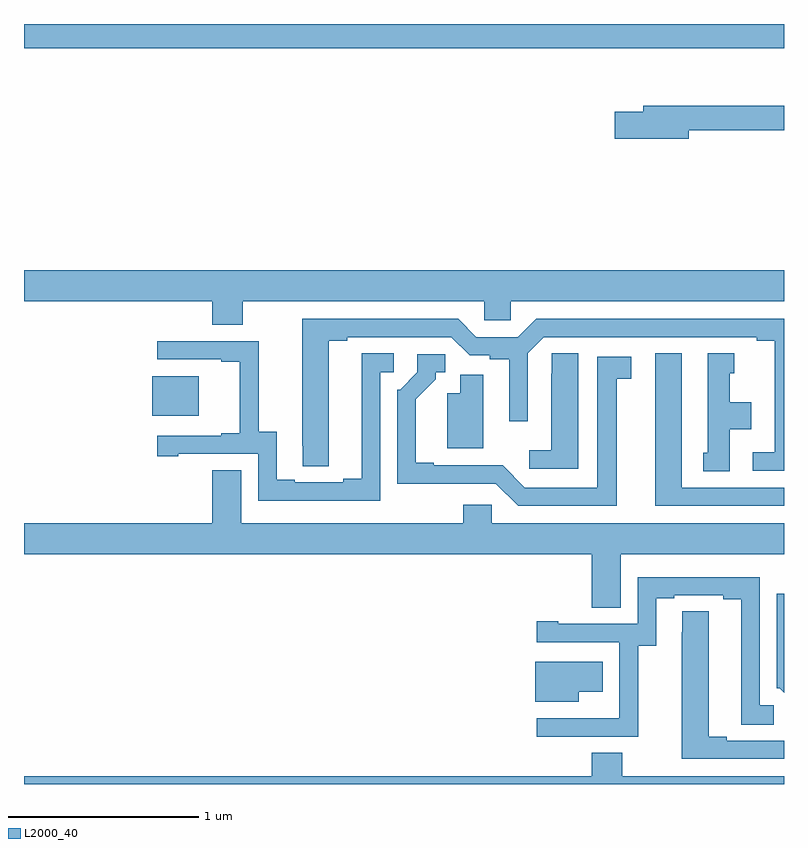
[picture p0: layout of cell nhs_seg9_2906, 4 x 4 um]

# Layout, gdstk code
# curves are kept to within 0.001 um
import gdstk
lib = gdstk.Library(unit=1e-6, precision=1e-09)
def R(c, l, rs):  # rectangles x0, y0, x1, y1
    for r in rs: c.add(gdstk.rectangle(r[:2], r[2:], *l))
def P(c, l, *ps):  # polygons
    for p in ps: c.add(gdstk.Polygon(p, *l))
L2000_40 = (2000, 40)

nhs_seg9_2906 = lib.new_cell('nhs_seg9_2906')
R(nhs_seg9_2906, L2000_40, [(277.676,1242.437,277.921,1242.646), (277,1244.372,281,1244.5)])
P(nhs_seg9_2906, L2000_40, [(280.498,1243.942),(281,1243.942),(281,1244.071),(280.259,1244.071),(280.259,1244.037),(280.11,1244.037),(280.11,1243.895),(280.498,1243.895)],
  [(278.151,1243.04),(279.423,1243.04),(279.423,1242.942),(279.561,1242.942),(279.561,1243.04),(281,1243.04),(281,1243.204),(277,1243.204),(277,1243.04),(277.991,1243.04),(277.991,1242.916),(278.151,1242.916)],
  [(281,1242.948),(279.695,1242.948),(279.599,1242.852),(279.381,1242.852),(279.285,1242.948),(278.465,1242.948),(278.466,1242.172),(278.605,1242.172),(278.605,1242.832),(278.701,1242.832),(278.701,1242.852),(279.249,1242.852),(279.345,1242.756),(279.45,1242.756),(279.45,1242.736),(279.554,1242.736),(279.554,1242.408),(279.651,1242.408),(279.651,1242.768),(279.735,1242.852),(280.856,1242.852),(280.856,1242.832),(280.952,1242.832),(280.952,1242.246),(280.836,1242.246),(280.836,1242.15),(281,1242.15)],
  [(278.874,1242.666),(278.947,1242.666),(278.947,1242.767),(278.777,1242.767),(278.777,1242.107),(278.681,1242.107),(278.681,1242.087),(278.425,1242.087),(278.425,1242.102),(278.329,1242.102),(278.329,1242.353),(278.235,1242.353),(278.235,1242.831),(277.701,1242.831),(277.701,1242.735),(278.039,1242.735),(278.039,1242.723),(278.135,1242.723),(278.135,1242.346),(278.039,1242.346),(278.039,1242.333),(277.701,1242.333),(277.701,1242.225),(277.813,1242.225),(277.813,1242.237),(278.232,1242.237),(278.232,1241.991),(278.874,1241.991)],
  [(279.916,1242.767),(279.777,1242.767),(279.777,1242.659),(279.776,1242.659),(279.776,1242.256),(279.66,1242.256),(279.66,1242.159),(279.916,1242.159)],
  [(280.714,1242.368),(280.828,1242.368),(280.828,1242.508),(280.714,1242.508),(280.714,1242.663),(280.738,1242.663),(280.738,1242.766),(280.598,1242.766),(280.598,1242.243),(280.574,1242.243),(280.574,1242.145),(280.714,1242.145)],
  [(281,1242.06),(280.462,1242.06),(280.462,1242.766),(280.322,1242.766),(280.322,1241.964),(281,1241.964)],
  [(280.12,1242.634),(280.195,1242.634),(280.195,1242.75),(280.016,1242.75),(280.016,1242.06),(279.636,1242.06),(279.519,1242.177),(279.157,1242.177),(279.157,1242.19),(279.061,1242.19),(279.061,1242.526),(279.166,1242.631),(279.166,1242.666),(279.216,1242.666),(279.216,1242.762),(279.069,1242.762),(279.069,1242.666),(278.979,1242.576),(278.964,1242.576),(278.964,1242.08),(279.483,1242.081),(279.6,1241.964),(280.12,1241.964)],
  [(279.418,1242.654),(279.296,1242.654),(279.296,1242.556),(279.227,1242.556),(279.227,1242.266),(279.418,1242.266)],
  [(280.141,1241.708),(281,1241.708),(281,1241.872),(279.462,1241.872),(279.462,1241.97),(279.311,1241.97),(279.311,1241.872),(278.143,1241.872),(278.143,1242.152),(277.991,1242.152),(277.991,1241.872),(277,1241.872),(277,1241.708),(279.989,1241.708),(279.989,1241.428),(280.141,1241.428)],
  [(280.233,1241.227),(280.327,1241.227),(280.327,1241.478),(280.423,1241.478),(280.423,1241.493),(280.679,1241.493),(280.679,1241.473),(280.775,1241.473),(280.775,1240.813),(280.945,1240.813),(280.945,1240.914),(280.872,1240.914),(280.872,1241.589),(280.23,1241.589),(280.23,1241.343),(279.811,1241.343),(279.811,1241.356),(279.699,1241.356),(279.699,1241.247),(280.134,1241.247),(280.134,1240.846),(280.133,1240.846),(280.133,1240.845),(279.699,1240.845),(279.699,1240.749),(280.233,1240.749)],
  [(281,1241.501),(280.962,1241.501),(280.962,1241.004),(280.977,1241.004),(281,1240.981)],
  [(281,1240.728),(280.699,1240.728),(280.699,1240.748),(280.603,1240.748),(280.603,1241.408),(280.464,1241.408),(280.464,1241.3),(280.463,1241.3),(280.463,1240.632),(281,1240.632)],
  [(279.919,1240.985),(280.045,1240.985),(280.045,1241.143),(279.692,1241.143),(279.692,1240.934),(279.919,1240.934)],
  [(281,1240.54),(280.149,1240.54),(280.149,1240.664),(279.989,1240.664),(279.989,1240.54),(277,1240.54),(277,1240.5),(281,1240.5)])

lib.write_gds('nhs_seg9_2906.gds')
